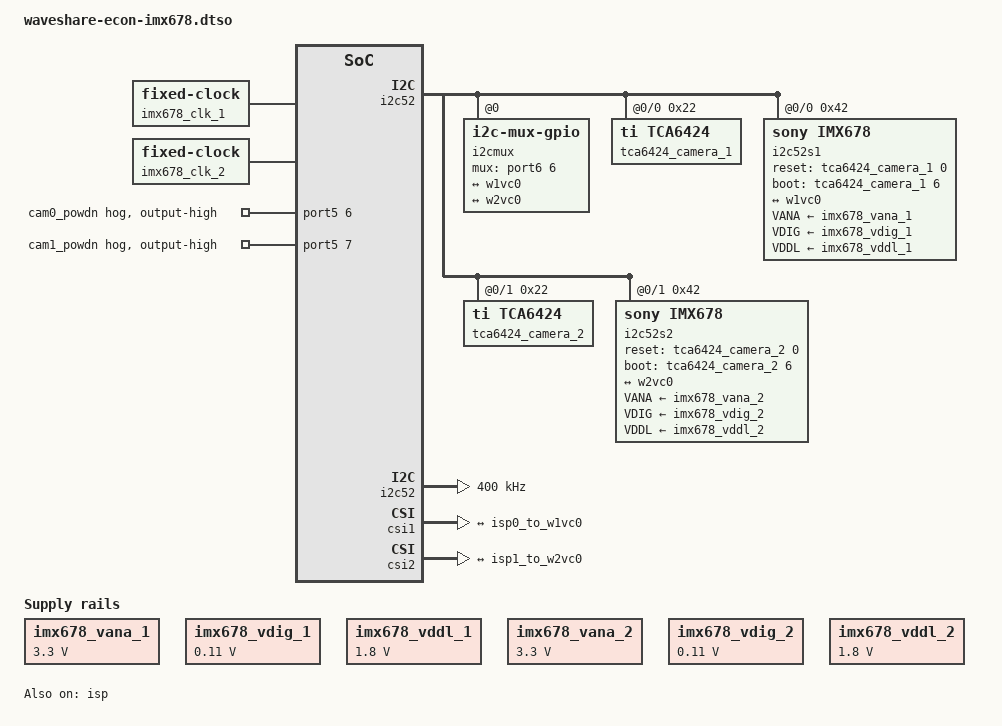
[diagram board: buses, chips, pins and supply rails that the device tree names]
// SPDX-License-Identifier: (GPL-2.0+ OR MIT)
/*
 * Copyright (c) 2025 SiMa ai
 */

/dts-v1/;
/plugin/;

&port5 {
	cam-hog0 {
		gpio-hog;
		/* Set port5 gpio6 to GPIO_ACTIVE_HIGH mode */
		gpios = <6 0>;
		output-high;
		line-name = "cam0_powdn";
	};
	cam-hog1 {
		gpio-hog;
		/* Set port5 gpio7 to GPIO_ACTIVE_HIGH mode */
		gpios = <7 0>;
		output-high;
		line-name = "cam1_powdn";
	};
};

&i2c52 {
    status = "okay";
    clock-frequency = <400000>;
    #address-cells = <1>;
    #size-cells = <0>;
};

/ {
    fragment@10 {
        target-path = "/"; /* Root node of the base tree */
        __overlay__ {
			imx678_vana_1: csi1_fixedregulator@0 {
				compatible = "regulator-fixed";
				regulator-name = "imx678_vana_1";
				regulator-min-microvolt = <3300000>;
				regulator-max-microvolt = <3300000>;
				enable-active-high;
				startup-delay-us = <300000>;
				regulator-always-on;
			};
			imx678_vdig_1: csi1_fixedregulator@1 {
				compatible = "regulator-fixed";
				regulator-name = "imx678_vdig_1";
				regulator-min-microvolt = <110000>;
				regulator-max-microvolt = <110000>;
				regulator-always-on;
			};
			imx678_vddl_1: csi1_fixedregulator@2 {
				compatible = "regulator-fixed";
				regulator-name = "imx678_vddl_1";
				regulator-min-microvolt = <1800000>;
				regulator-max-microvolt = <1800000>;
				regulator-always-on;
			};
			imx678_clk_1: csi1_camera-clk {
				compatible = "fixed-clock";
				#clock-cells = <0>;
				clock-frequency = <24000000>;
			};
        };
    };
    fragment@11 {
        target-path = "/"; /* Root node of the base tree */
        __overlay__ {
			imx678_vana_2: csi2_fixedregulator@0 {
				compatible = "regulator-fixed";
				regulator-name = "imx678_vana_2";
				regulator-min-microvolt = <3300000>;
				regulator-max-microvolt = <3300000>;
				enable-active-high;
				startup-delay-us = <300000>;
				regulator-always-on;
			};
			imx678_vdig_2: csi2_fixedregulator@1 {
				compatible = "regulator-fixed";
				regulator-name = "imx678_vdig_2";
				regulator-min-microvolt = <110000>;
				regulator-max-microvolt = <110000>;
				regulator-always-on;
			};
			imx678_vddl_2: csi2_fixedregulator@2 {
				compatible = "regulator-fixed";
				regulator-name = "imx678_vddl_2";
				regulator-min-microvolt = <1800000>;
				regulator-max-microvolt = <1800000>;
				regulator-always-on;
			};
			imx678_clk_2: csi2_camera-clk {
				compatible = "fixed-clock";
				#clock-cells = <0>;
				clock-frequency = <24000000>;
			};
        };
    };
    fragment@12 {
        target-path = "/"; /* Root node of the base tree */
        __overlay__ {
			i2cmux@0 {
				compatible = "i2c-mux-gpio";
				i2c-parent = <&i2c52>;
				#address-cells = <1>;
				#size-cells = <0>;
				/* Set port6 gpio6 to GPIO_ACTIVE_LOW mode */
				mux-gpios = <&port6 6 0>;
				i2c@0 {
					reg = <0>;
					#address-cells = <1>;
					#size-cells = <0>;
					tca6424_camera_1: tca6424@22 {
						compatible = "ti,tca6424";
						gpio-controller;
						#gpio-cells = <2>;
						reg = <0x22>;
						status = "okay";
					};
					i2c52s1: sensor@42 {
						compatible = "sony,imx678";
						reg = <0x42>;
						clocks = <&imx678_clk_1>;
						clock-names = "xclk";
						VANA-supply = <&imx678_vana_1>;
						VDIG-supply = <&imx678_vdig_1>;
						VDDL-supply = <&imx678_vddl_1>;
						reset-gpios = <&tca6424_camera_1 0 0>;
						boot-gpios = <&tca6424_camera_1 6 0>;
						camera_mipi_lanes = <2>;
						cam_fw_name = "imx678_cam_fw.bin";

						i2c52p1: port@1 {
							camera_1: endpoint@0 {
								remote-endpoint = <&w1vc0>;
								data-lanes = <1 2>;
								clock-lanes = <0>;
								clock-continuous;
								link-frequencies = /bits/ 64 <450000000>;
							};
						};
					};
				};
				i2c@1 {
					reg = <1>;
					#address-cells = <1>;
					#size-cells = <0>;
					tca6424_camera_2: tca6424@22 {
						compatible = "ti,tca6424";
						gpio-controller;
						#gpio-cells = <2>;
						reg = <0x22>;
						status = "okay";
					};
					i2c52s2: sensor@42 {
						compatible = "sony,imx678";
						reg = <0x42>;
						clocks = <&imx678_clk_2>;
						clock-names = "xclk";
						VANA-supply = <&imx678_vana_2>;
						VDIG-supply = <&imx678_vdig_2>;
						VDDL-supply = <&imx678_vddl_2>;
						reset-gpios = <&tca6424_camera_2 0 0>;
						boot-gpios = <&tca6424_camera_2 6 0>;
						camera_mipi_lanes = <2>;
						cam_fw_name = "imx678_cam_fw.bin";
						i2c52p2: port@1 {
							camera_2: endpoint@0 {
								remote-endpoint = <&w2vc0>;
								data-lanes = <1 2>;
								clock-lanes = <0>;
								clock-continuous;
								link-frequencies = /bits/ 64 <450000000>;
							};
						};
					};
				};
			};
		};
	};
};

&mipi_dphy_rx1 { snps,dphy-frequency = <1040000000>; };

&mipi_dphy_rx2 { snps,dphy-frequency = <1040000000>; };

&axi_vdma_vis1 { status = "okay"; };

&axi_vdma_vis2 { status = "okay"; };

&csi1 {
	status = "okay";
	isp-connected = <1>;
	csi1p0: port@1 {
		reg = <1>;
		w1vc0_to_isp0: endpoint@1 {
			remote-endpoint = <&isp0_to_w1vc0>;
			data-lanes = <1 2>;
			clock-lanes = <1>;
			clock-continuous;
			link-frequencies = /bits/ 64 <450000000>;
		};
	};
};

&csi2 {
	status = "okay";
	isp-connected = <1>;
	csi2p0: port@1 {
		reg = <1>;
		w2vc0_to_isp1: endpoint@1 {
			remote-endpoint = <&isp1_to_w2vc0>;
			data-lanes = <1 2>;
			clock-lanes = <1>;
			clock-continuous;
			link-frequencies = /bits/ 64 <450000000>;
		};
	};
};

&isp {
	status = "okay";
	ports {
		#address-cells = <1>;
		#size-cells = <0>;
		isp0p0: port@1 {
			reg = <0>;
			isp0_to_w1vc0: endpoint@0 {
				remote-endpoint = <&w1vc0_to_isp0>;
				dma-index = <1>;
			};
			w1vc0: endpoint@1 {
				remote-endpoint = <&camera_1>;
				sensor-id = <2>;
			};
		};
		isp1p0: port@2 {
			reg = <1>;
			isp1_to_w2vc0: endpoint@0 {
				remote-endpoint = <&w2vc0_to_isp1>;
				dma-index = <2>;
			};
			w2vc0: endpoint@1 {
				remote-endpoint = <&camera_2>;
				sensor-id = <2>;
			};
		};
	};
};
